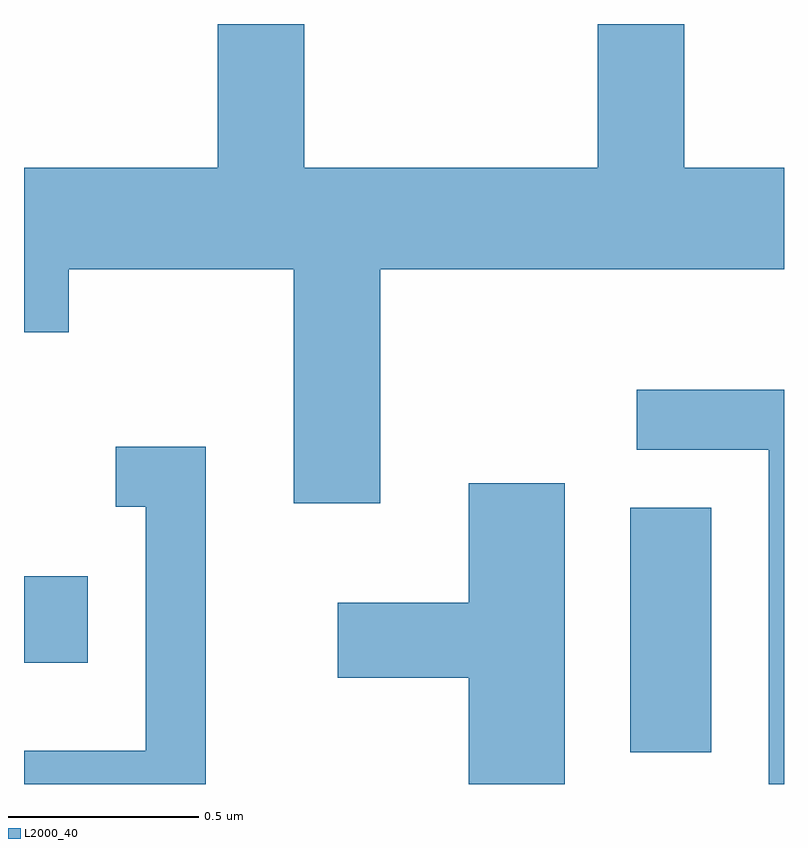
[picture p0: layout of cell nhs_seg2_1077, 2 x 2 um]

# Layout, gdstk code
import gdstk
lib = gdstk.Library(unit=1e-6, precision=1e-09)
def R(c, l, rs):  # rectangles x0, y0, x1, y1
    for r in rs: c.add(gdstk.rectangle(r[:2], r[2:], *l))
def P(c, l, *ps):  # polygons
    for p in ps: c.add(gdstk.Polygon(p, *l))
L2000_40 = (2000, 40)

nhs_seg2_1077 = lib.new_cell('nhs_seg2_1077')
R(nhs_seg2_1077, L2000_40, [(194.206,1095.886,194.419,1096.529), (192.611,1096.121,192.779,1096.349)])
P(nhs_seg2_1077, L2000_40, [(193.549,1097.156),(194.611,1097.156),(194.611,1097.424),(194.349,1097.424),(194.349,1097.802),(194.121,1097.802),(194.121,1097.424),(193.349,1097.424),(193.349,1097.802),(193.121,1097.802),(193.121,1097.424),(192.611,1097.424),(192.611,1096.991),(192.729,1096.991),(192.729,1097.156),(193.321,1097.156),(193.321,1096.541),(193.549,1096.541)],
  [(194.611,1096.839),(194.223,1096.839),(194.223,1096.681),(194.571,1096.681),(194.571,1095.802),(194.611,1095.802)],
  [(193.089,1096.689),(192.853,1096.689),(192.853,1096.531),(192.931,1096.531),(192.931,1095.889),(192.611,1095.889),(192.611,1095.802),(193.089,1095.802)],
  [(194.034,1096.594),(193.781,1096.594),(193.781,1096.279),(193.436,1096.279),(193.436,1096.081),(193.781,1096.081),(193.781,1095.802),(194.034,1095.802)])

lib.write_gds('nhs_seg2_1077.gds')
